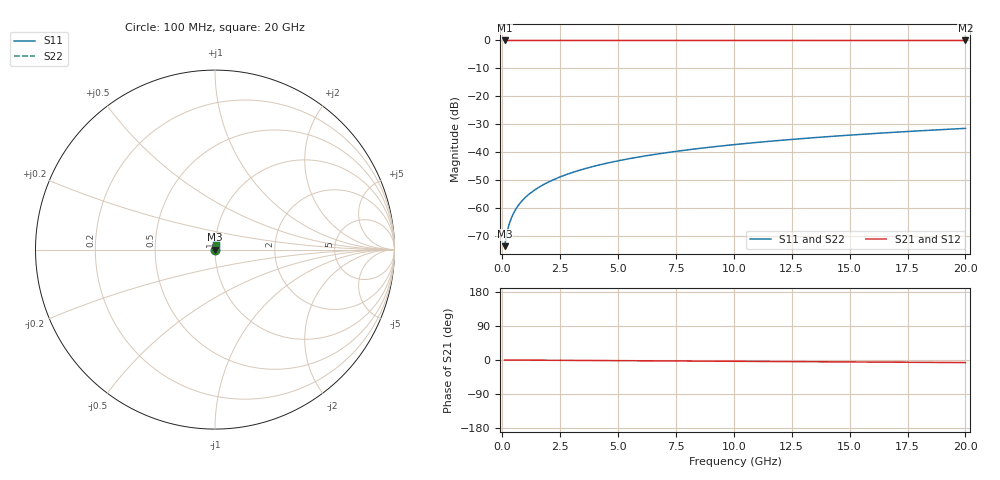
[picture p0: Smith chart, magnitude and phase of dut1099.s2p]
! Touchstone file exported from HFSS 2026.1.0
!  File:  C:/ffzhzh/LocalFiles/Ansys_Project_Files/temp_train_TSV_1099_1783190487_22436.aedt
!  Generated:  02:43:00 AM Jul  5, 2026
!  Design:  TSV
!  Project:  temp_train_TSV_1099_1783190487_22436
! Variables:
!  h_bsmrdl = 2um
!  h_ox = 20um
!  h_rdl = 5um
!  h_sub = 62.27um
!  h_tmrdl = 5um
!  h_tsv = 62.27um
!  h_via = 3um
!  l_bsmrdl = 300um
!  l_sub = 418.12um
!  l_tmrdl = 200um
!  m_sub = 200um
!  pitch = 47.38um
!  r_tsv = 9.06um
!  s_tmrdl = 10um
!  w_bsmrdl = 18um
!  w_sub = 500um
!  w_tmrdl = 12um
!  x_tsv_center1 = 206um
!  x_tsv_center2 = 524um
!  x_tsv_center3 = 736um
!  x_tsv_center4 = 1054um
!  x_tsv_center5 = 1266um
!  x_tsv_center6 = 1584um
# GHz S MA R 50.000000
! Terminal data exported
! Port[1] = TSV1_1_T1
! Port[2] = TSV1_1_T2
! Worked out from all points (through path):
!   200 points, 100 MHz to 20 GHz, reference 50 ohm
!   highest |S21| = 0.00 dB at 100 MHz (marker M1); lowest = 0.0 dB at 20 GHz (marker M2)
!   lowest |S11| = -73.7 dB at 100 MHz (marker M3), VSWR 1.00, Z = 50 + j0.0168 ohm
!   |S11| at or under -10 dB: start of sweep to end of sweep
!   |S22| runs from -73.7 to -31.5 dB; largest |S21 - S12| = 3.5e-15
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0.1  0.0002075 54.2  0.9999 -0.0  0.9999 -0.0  0.0002075 54.2
! Gamma 0 0 0 0
! Port Impedance 50 0 50 0
0.2  0.000359 68.6  0.9999 -0.1  0.9999 -0.1  0.000359 68.6
0.3  0.0005176 73.7  0.9999 -0.1  0.9999 -0.1  0.0005176 73.7
0.4  0.0006749 76.0  0.9998 -0.1  0.9998 -0.1  0.0006749 76.0
0.5  0.0008287 77.3  0.9998 -0.2  0.9998 -0.2  0.0008287 77.3
0.6  0.000979 78.1  0.9998 -0.2  0.9998 -0.2  0.000979 78.1
0.7  0.001126 78.7  0.9998 -0.2  0.9998 -0.2  0.001126 78.7
0.8  0.00127 79.1  0.9998 -0.3  0.9998 -0.3  0.00127 79.1
1  0.001553 79.9  0.9997 -0.4  0.9997 -0.4  0.001553 79.9
1.4  0.002106 81.1  0.9997 -0.5  0.9997 -0.5  0.002106 81.1
1.7  0.002517 81.7  0.9997 -0.6  0.9997 -0.6  0.002517 81.7
2  0.002927 82.2  0.9996 -0.7  0.9996 -0.7  0.002927 82.2
2.7  0.003884 83.0  0.9996 -0.9  0.9996 -0.9  0.003884 83.0
3.5  0.004973 83.5  0.9995 -1.2  0.9995 -1.2  0.004973 83.5
4.2  0.005922 83.7  0.9995 -1.4  0.9995 -1.4  0.005922 83.7
5  0.006999 83.8  0.9994 -1.7  0.9994 -1.7  0.006999 83.8
6.8  0.009404 83.7  0.9993 -2.3  0.9993 -2.3  0.009404 83.7
8.3  0.01139 83.6  0.9992 -2.8  0.9992 -2.8  0.01139 83.6
10.1  0.01377 83.3  0.9991 -3.5  0.9991 -3.5  0.01377 83.3
13.4  0.0181 82.6  0.9989 -4.6  0.9989 -4.6  0.0181 82.6
16.7  0.02241 81.7  0.9987 -5.7  0.9987 -5.7  0.02241 81.7
20  0.02668 80.8  0.9985 -6.8  0.9985 -6.8  0.02668 80.8
